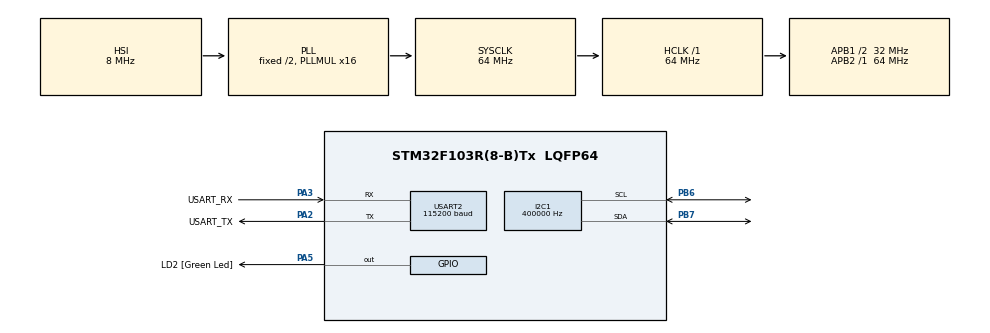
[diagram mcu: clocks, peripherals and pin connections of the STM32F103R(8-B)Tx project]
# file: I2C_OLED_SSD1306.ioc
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I2C1.ClockSpeed=400000
Mcu.Family=STM32F1
Mcu.Name=STM32F103R(8-B)Tx
Mcu.Package=LQFP64
NVIC.PriorityGroup=NVIC_PRIORITYGROUP_4
PA13.GPIO_Label=TMS
PA13.Mode=Serial_Wire
PA13.Signal=SYS_JTMS-SWDIO
PA14.GPIO_Label=TCK
PA14.Mode=Serial_Wire
PA14.Signal=SYS_JTCK-SWCLK
PA2.GPIO_Label=USART_TX
PA2.GPIO_Mode=GPIO_MODE_AF_PP
PA2.GPIO_PuPd=GPIO_NOPULL
PA2.GPIO_Speed=GPIO_SPEED_FREQ_LOW
PA2.Mode=Asynchronous
PA2.Signal=USART2_TX
PA3.GPIO_Label=USART_RX
PA3.GPIO_PuPd=GPIO_NOPULL
PA3.GPIO_Speed=GPIO_SPEED_FREQ_LOW
PA3.Mode=Asynchronous
PA3.Signal=USART2_RX
PA5.GPIO_Label=LD2 [Green Led]
PA5.GPIO_ModeDefaultOutputPP=GPIO_MODE_OUTPUT_PP
PA5.GPIO_PuPd=GPIO_NOPULL
PA5.GPIO_Speed=GPIO_SPEED_FREQ_LOW
PA5.Signal=GPIO_Output
PB3.GPIO_Label=SWO
PB3.Signal=SYS_JTDO-TRACESWO
PB6.Mode=I2C
PB6.Signal=I2C1_SCL
PB7.Mode=I2C
PB7.Signal=I2C1_SDA
PC14-OSC32_IN.Mode=LSE-External-Oscillator
PC14-OSC32_IN.Signal=RCC_OSC32_IN
PC15-OSC32_OUT.Mode=LSE-External-Oscillator
PC15-OSC32_OUT.Signal=RCC_OSC32_OUT
PD0-OSC_IN.Mode=HSE-External-Clock-Source
PD0-OSC_IN.Signal=RCC_OSC_IN
PD1-OSC_OUT.Mode=HSE-External-Clock-Source
PD1-OSC_OUT.Signal=RCC_OSC_OUT
ProjectManager.HeapSize=0x200
ProjectManager.StackSize=0x400
ProjectManager.TargetToolchain=STM32CubeIDE
RCC.AHBFreq_Value=64000000
RCC.APB1CLKDivider=RCC_HCLK_DIV2
RCC.APB1Freq_Value=32000000
RCC.APB1TimFreq_Value=64000000
RCC.APB2Freq_Value=64000000
RCC.APB2TimFreq_Value=64000000
RCC.HCLKFreq_Value=64000000
RCC.PLLMUL=RCC_PLL_MUL16
RCC.RTCClockSelection=RCC_RTCCLKSOURCE_LSE
RCC.SYSCLKFreq_VALUE=64000000
RCC.SYSCLKSource=RCC_SYSCLKSOURCE_PLLCLK
RCC.USBFreq_Value=64000000
USART2.BaudRate=115200
USART2.VirtualMode=VM_ASYNC
board=NUCLEO-F103RB

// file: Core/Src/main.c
/* USER CODE BEGIN Header */
/**
 ******************************************************************************
 * @file           : main.c
 * @brief          : Main program body
 ******************************************************************************
 * @attention
 *
 * Copyright (c) 2026 STMicroelectronics.
 * All rights reserved.
 *
 * This software is licensed under terms that can be found in the LICENSE file
 * in the root directory of this software component.
 * If no LICENSE file comes with this software, it is provided AS-IS.
 *
 ******************************************************************************
 */
/**
 * 06_I2C_OLED_SSD1306_c  —  [계층: HAL]  I2C 로 SSD1306 128x64 OLED 구동: 프레임버퍼, 선/사각형, 숫자 표시, 애니메이션
 *
 * 배선: OLED 모듈(I2C 4핀) VCC=3.3V, GND, SCL=PB6, SDA=PB7   (7비트 주소 0x3C, HAL 에는 0x78 = 0x3C<<1 로 전달)
 *       모듈에 풀업이 없으면 SCL/SDA 각각 4.7kΩ 풀업 추가.
 *
 * SSD1306 구조
 *   128x64 픽셀 = 8 페이지(가로 줄) x 128 열. 1바이트 = 세로 8픽셀(LSB 가 위쪽). 화면 전체 = 1024바이트.
 *   I2C 프레임: [주소+W] [제어 바이트] [데이터...]   제어 바이트 0x00 = 뒤따르는 것이 "명령", 0x40 = 뒤따르는 것이 "표시 데이터"
 *   화면 램(GDDRAM)에 쓰기 전에 주소 지정 모드(수평, 0x20 0x00)와 열/페이지 범위(0x21, 0x22)를 설정해 두면
 *   1024바이트를 연속으로 밀어 넣는 것만으로 전체 화면이 갱신된다.
 *
 * 이 예제의 구조 (마이크로컨트롤러 RAM 에 프레임버퍼 1KB 를 두고 그림 -> 통째로 전송하는 정석 패턴)
 *   fb[1024] : 그리기 함수(px, fill_rect, rect, line, text)는 fb 만 수정 -> oled_flush() 가 fb 를 OLED 로 전송
 *   글꼴: 공간 절약을 위해 3x5 픽셀 글꼴(숫자 0-9, ':', '.', '-', 공백, 'F', 'P', 'S')만 내장. 필요한 글자를 표에 추가해 확장.
 *   화면: 테두리 안에서 공이 튕기고, 프레임 번호와 FPS 를 숫자로 표시.
 *   I2C 400kHz(고속 모드)로 1024바이트 전송 = 약 23ms -> 최대 약 40 FPS (측정값이 화면과 UART 에 표시됨)
 *
 * 인터럽트를 사용하지 않는다 (블로킹 I2C). 부드러운 애니메이션과 CPU 절약이 필요하면 HAL_I2C_Mem_Write_DMA 로 전송(05_I2C_MPU6050_DMA 참고).
 */
/* USER CODE END Header */
#include "main.h"

/* USER CODE BEGIN Includes */
#include <stdio.h>
#include <string.h>
/* USER CODE END Includes */

/* USER CODE BEGIN PD */
#define OLED_ADDR (0x3C << 1)
#define OLED_W 128
#define OLED_H 64

/* USER CODE END PD */

I2C_HandleTypeDef hi2c1;
UART_HandleTypeDef huart2;

/* USER CODE BEGIN PV */
static uint8_t fb[OLED_W * OLED_H / 8];
/* USER CODE END PV */

void SystemClock_Config(void);
static void MX_GPIO_Init(void);
static void MX_I2C1_Init(void);
static void MX_USART2_UART_Init(void);

/* USER CODE BEGIN 0 */
/* ---------------- SSD1306 저수준 ---------------- */
static HAL_StatusTypeDef oled_cmds(const uint8_t *c, uint16_t n)
{
    return HAL_I2C_Mem_Write(&hi2c1, OLED_ADDR, 0x00, I2C_MEMADD_SIZE_8BIT, (uint8_t *)c, n, 100);   /* 제어 바이트 0x00 = 명령 */
}

static HAL_StatusTypeDef oled_init(void)
{
    static const uint8_t init[] = {
        0xAE,             /* 디스플레이 끄기 */
        0xD5, 0x80,       /* 클럭 분주/오실레이터 주파수 */
        0xA8, 0x3F,       /* 멀티플렉스 비율 = 64 */
        0xD3, 0x00,       /* 디스플레이 오프셋 = 0 */
        0x40,             /* 시작 라인 = 0 */
        0x8D, 0x14,       /* 내부 차지 펌프 켜기 (3.3V 단일 전원 모듈) */
        0x20, 0x00,       /* 수평 주소 지정 모드 */
        0xA1,             /* 세그먼트 리맵 (좌우 반전 보정) */
        0xC8,             /* COM 스캔 방향 반전 (상하 보정) */
        0xDA, 0x12,       /* COM 핀 하드웨어 구성 */
        0x81, 0xCF,       /* 대비 */
        0xD9, 0xF1,       /* 프리차지 기간 */
        0xDB, 0x40,       /* VCOMH 레벨 */
        0xA4,             /* RAM 내용을 표시 */
        0xA6,             /* 정상(비반전) 표시 */
        0xAF              /* 디스플레이 켜기 */
    };
    return oled_cmds(init, sizeof init);
}

static HAL_StatusTypeDef oled_flush(void)
{
    static const uint8_t win[] = { 0x21, 0, OLED_W - 1, 0x22, 0, 7 };       /* 열 0..127, 페이지 0..7 */
    if (oled_cmds(win, sizeof win) != HAL_OK) return HAL_ERROR;
    return HAL_I2C_Mem_Write(&hi2c1, OLED_ADDR, 0x40, I2C_MEMADD_SIZE_8BIT, fb, sizeof fb, 200);   /* 제어 바이트 0x40 = 데이터 */
}

/* ---------------- 그리기 (프레임버퍼) ---------------- */
static void px(int x, int y, int on)
{
    if ((unsigned)x >= OLED_W || (unsigned)y >= OLED_H) return;
    uint8_t *b = &fb[(y >> 3) * OLED_W + x];                              /* 페이지 = y/8, 비트 = y%8 (LSB 가 위) */
    if (on) *b |= (uint8_t)(1u << (y & 7)); else *b &= (uint8_t)~(1u << (y & 7));
}

static void fill_rect(int x, int y, int w, int h, int on)
{
    for (int j = 0; j < h; j++) for (int i = 0; i < w; i++) px(x + i, y + j, on);
}

static void rect(int x, int y, int w, int h)
{
    for (int i = 0; i < w; i++) { px(x + i, y, 1); px(x + i, y + h - 1, 1); }
    for (int j = 0; j < h; j++) { px(x, y + j, 1); px(x + w - 1, y + j, 1); }
}

static void line(int x0, int y0, int x1, int y1)                          /* Bresenham */
{
    int dx = x1 > x0 ? x1 - x0 : x0 - x1, sx = x0 < x1 ? 1 : -1;
    int dy = y1 > y0 ? y0 - y1 : y1 - y0, sy = y0 < y1 ? 1 : -1;          /* dy 는 음수로 유지 */
    int err = dx + dy;
    for (;;)
    {
        px(x0, y0, 1);
        if (x0 == x1 && y0 == y1) break;
        int e2 = 2 * err;
        if (e2 >= dy) { err += dy; x0 += sx; }
        if (e2 <= dx) { err += dx; y0 += sy; }
    }
}

/* 3x5 글꼴: 한 글자 = 5행, 각 행 3비트 (bit2 = 왼쪽 픽셀) */
static const struct { char c; uint8_t row[5]; } font[] = {
    {'0',{7,5,5,5,7}}, {'1',{2,6,2,2,7}}, {'2',{7,1,7,4,7}}, {'3',{7,1,7,1,7}}, {'4',{5,5,7,1,1}},
    {'5',{7,4,7,1,7}}, {'6',{7,4,7,5,7}}, {'7',{7,1,2,2,2}}, {'8',{7,5,7,5,7}}, {'9',{7,5,7,1,7}},
    {':',{0,2,0,2,0}}, {'.',{0,0,0,0,2}}, {'-',{0,0,7,0,0}}, {' ',{0,0,0,0,0}},
    {'F',{7,4,6,4,4}}, {'P',{7,5,7,4,4}}, {'S',{7,4,7,1,7}},
};

static void text(int x, int y, int scale, const char *s)
{
    for (; *s; s++, x += 4 * scale)                                        /* 글자 폭 3 + 간격 1 */
    {
        for (unsigned k = 0; k < sizeof font / sizeof font[0]; k++)
        {
            if (font[k].c != *s) continue;
            for (int r = 0; r < 5; r++)
                for (int c = 0; c < 3; c++)
                    if ((font[k].row[r] >> (2 - c)) & 1) fill_rect(x + c * scale, y + r * scale, scale, scale, 1);
            break;
        }
    }
}
/* USER CODE END 0 */

int main(void)
{

  /* MCU Configuration--------------------------------------------------------*/

  /* Reset of all peripherals, Initializes the Flash interface and the Systick. */
  HAL_Init();

  /* Configure the system clock */
  SystemClock_Config();

  /* Initialize all configured peripherals */
  MX_GPIO_Init();
  MX_I2C1_Init();
  MX_USART2_UART_Init();
  /* USER CODE BEGIN 2 */
    if (oled_init() != HAL_OK)
    {
        HAL_UART_Transmit(&huart2, (uint8_t *)"\r\nOLED not found at 0x3C (check wiring)\r\n", 41, 100);
        Error_Handler();
    }

    int bx = 20, by = 20, vx = 2, vy = 1;                                  /* 공 위치/속도 */
    uint32_t frame = 0, fps = 0, frames_this_sec = 0, t_sec = HAL_GetTick();
    char buf[24];
  /* USER CODE END 2 */

  /* Infinite loop */
  while (1)
  {

    /* USER CODE BEGIN 3 */
        memset(fb, 0, sizeof fb);
        rect(0, 0, OLED_W, OLED_H);                                        /* 화면 테두리 */
        line(0, 0, 127, 63);                                               /* 대각선 */
        line(0, 63, 127, 0);

        bx += vx; by += vy;                                                /* 공: 4x4, 테두리 안에서 반사 */
        if (bx < 2 || bx > OLED_W - 6) { vx = -vx; bx += vx; }
        if (by < 2 || by > OLED_H - 6) { vy = -vy; by += vy; }
        fill_rect(bx, by, 4, 4, 1);

        snprintf(buf, sizeof buf, "%lu", (unsigned long)frame);
        text(6, 6, 3, buf);                                                /* 프레임 번호 (크게) */
        snprintf(buf, sizeof buf, "FPS %lu", (unsigned long)fps);
        text(6, 46, 2, buf);

        if (oled_flush() != HAL_OK)
        {
            HAL_UART_Transmit(&huart2, (uint8_t *)"flush error\r\n", 13, 100);
            HAL_Delay(100);
        }

        frame++; frames_this_sec++;
        if (HAL_GetTick() - t_sec >= 1000)
        {
            t_sec += 1000;
            fps = frames_this_sec; frames_this_sec = 0;
            char m[40];
            int n = snprintf(m, sizeof m, "FPS = %lu\r\n", (unsigned long)fps);
            HAL_UART_Transmit(&huart2, (uint8_t *)m, (uint16_t)n, 100);
        }
  }
  /* USER CODE END 3 */
}

void SystemClock_Config(void)
{
  RCC_OscInitTypeDef RCC_OscInitStruct = {0};
  RCC_ClkInitTypeDef RCC_ClkInitStruct = {0};

  /** Initializes the RCC Oscillators according to the specified parameters
  * in the RCC_OscInitTypeDef structure.
  */
  RCC_OscInitStruct.OscillatorType = RCC_OSCILLATORTYPE_HSI;
  RCC_OscInitStruct.HSIState = RCC_HSI_ON;
  RCC_OscInitStruct.HSICalibrationValue = RCC_HSICALIBRATION_DEFAULT;
  RCC_OscInitStruct.PLL.PLLState = RCC_PLL_ON;
  RCC_OscInitStruct.PLL.PLLSource = RCC_PLLSOURCE_HSI_DIV2;
  RCC_OscInitStruct.PLL.PLLMUL = RCC_PLL_MUL16;
  if (HAL_RCC_OscConfig(&RCC_OscInitStruct) != HAL_OK)
  {
    Error_Handler();
  }

  /** Initializes the CPU, AHB and APB buses clocks
  */
  RCC_ClkInitStruct.ClockType = RCC_CLOCKTYPE_HCLK|RCC_CLOCKTYPE_SYSCLK
                              |RCC_CLOCKTYPE_PCLK1|RCC_CLOCKTYPE_PCLK2;
  RCC_ClkInitStruct.SYSCLKSource = RCC_SYSCLKSOURCE_PLLCLK;
  RCC_ClkInitStruct.AHBCLKDivider = RCC_SYSCLK_DIV1;
  RCC_ClkInitStruct.APB1CLKDivider = RCC_HCLK_DIV2;
  RCC_ClkInitStruct.APB2CLKDivider = RCC_HCLK_DIV1;

  if (HAL_RCC_ClockConfig(&RCC_ClkInitStruct, FLASH_LATENCY_2) != HAL_OK)
  {
    Error_Handler();
  }
}

static void MX_I2C1_Init(void)
{

  hi2c1.Instance = I2C1;
  hi2c1.Init.ClockSpeed = 400000;
  hi2c1.Init.DutyCycle = I2C_DUTYCYCLE_2;
  hi2c1.Init.OwnAddress1 = 0;
  hi2c1.Init.AddressingMode = I2C_ADDRESSINGMODE_7BIT;
  hi2c1.Init.DualAddressMode = I2C_DUALADDRESS_DISABLE;
  hi2c1.Init.OwnAddress2 = 0;
  hi2c1.Init.GeneralCallMode = I2C_GENERALCALL_DISABLE;
  hi2c1.Init.NoStretchMode = I2C_NOSTRETCH_DISABLE;
  if (HAL_I2C_Init(&hi2c1) != HAL_OK)
  {
    Error_Handler();
  }
  /* USER CODE BEGIN I2C1_Init 2 */
  /* HAL_I2C_Init -> (MspInit) 후 I2C1->CR2.FREQ = PCLK1(MHz) = 32, I2C1->CCR / TRISE = 400kHz 타이밍,
   *   CCR: F/S=1(고속), DUTY=0(Tlow/Thigh=2), CCR=27 -> SCL = 32MHz/(3x27) ≈ 395kHz (HAL 계산식은 올림)
   *   TRISE = (32 x 300)/1000 + 1 = 10   (고속 모드 최대 상승 시간 300ns, 정수 나눗셈)
   * CR1.PE = 1. NoStretch/GeneralCall/DualAddress = OAR2.ENDUAL, CR1.NOSTRETCH/ENGC 비트 */
  /* USER CODE END I2C1_Init 2 */

}

static void MX_USART2_UART_Init(void)
{

  huart2.Instance = USART2;
  huart2.Init.BaudRate = 115200;
  huart2.Init.WordLength = UART_WORDLENGTH_8B;
  huart2.Init.StopBits = UART_STOPBITS_1;
  huart2.Init.Parity = UART_PARITY_NONE;
  huart2.Init.Mode = UART_MODE_TX_RX;
  huart2.Init.HwFlowCtl = UART_HWCONTROL_NONE;
  huart2.Init.OverSampling = UART_OVERSAMPLING_16;
  if (HAL_UART_Init(&huart2) != HAL_OK)
  {
    Error_Handler();
  }

}

static void MX_GPIO_Init(void)
{
  GPIO_InitTypeDef GPIO_InitStruct = {0};

  /* GPIO Ports Clock Enable */
  __HAL_RCC_GPIOC_CLK_ENABLE();
  __HAL_RCC_GPIOD_CLK_ENABLE();
  __HAL_RCC_GPIOA_CLK_ENABLE();
  __HAL_RCC_GPIOB_CLK_ENABLE();

  /*Configure GPIO pin Output Level */
  HAL_GPIO_WritePin(LD2_GPIO_Port, LD2_Pin, GPIO_PIN_RESET);

  /*Configure GPIO pin : LD2_Pin */
  GPIO_InitStruct.Pin = LD2_Pin;
  GPIO_InitStruct.Mode = GPIO_MODE_OUTPUT_PP;
  GPIO_InitStruct.Pull = GPIO_NOPULL;
  GPIO_InitStruct.Speed = GPIO_SPEED_FREQ_LOW;
  HAL_GPIO_Init(LD2_GPIO_Port, &GPIO_InitStruct);

}

void Error_Handler(void)
{
  __disable_irq();
  while (1) {
  }
}
#ifdef USE_FULL_ASSERT
/**
  * @brief  Reports the name of the source file and the source line number
  *         where the assert_param error has occurred.
  * @param  file: pointer to the source file name
  * @param  line: assert_param error line source number
  * @retval None
  */
void assert_failed(uint8_t *file, uint32_t line)
{
  /* USER CODE BEGIN 6 */
  /* User can add his own implementation to report the file name and line
     number, ex: printf("Wrong parameters value: file %s on line %d\r\n", file,
     line) */
  /* USER CODE END 6 */
}
#endif /* USE_FULL_ASSERT */
